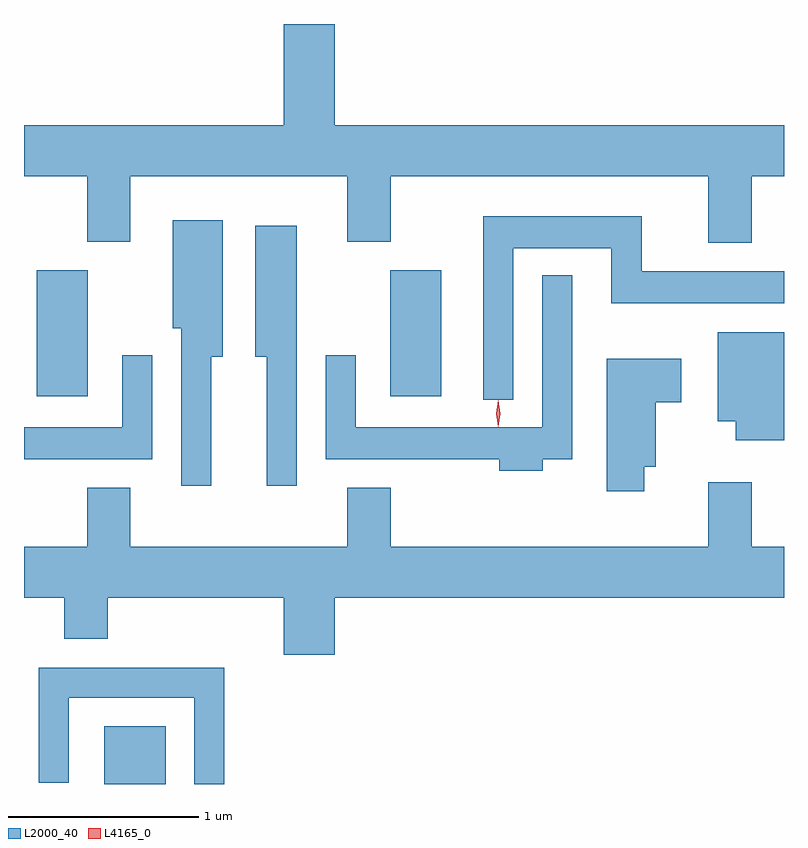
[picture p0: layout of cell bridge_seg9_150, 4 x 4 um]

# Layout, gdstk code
import gdstk
lib = gdstk.Library(unit=1e-6, precision=1e-09)
def R(c, l, rs):  # rectangles x0, y0, x1, y1
    for r in rs: c.add(gdstk.rectangle(r[:2], r[2:], *l))
def P(c, l, *ps):  # polygons
    for p in ps: c.add(gdstk.Polygon(p, *l))
L2000_40 = (2000, 40)
L4165_0 = (4165, 0)

bridge_seg9_150 = lib.new_cell('bridge_seg9_150')
R(bridge_seg9_150, L2000_40, [(1392.951,2070.756,1393.274,2071.059), (1392.596,2072.796,1392.864,2073.459), (1394.456,2072.796,1394.724,2073.459)])
P(bridge_seg9_150, L2000_40, [(1396.359,2073.956),(1396.529,2073.956),(1396.529,2074.224),(1394.164,2074.224),(1394.164,2074.756),(1393.896,2074.756),(1393.896,2074.224),(1392.529,2074.224),(1392.529,2073.956),(1392.861,2073.956),(1392.861,2073.611),(1393.089,2073.611),(1393.089,2073.956),(1394.231,2073.956),(1394.231,2073.611),(1394.459,2073.611),(1394.459,2073.956),(1396.131,2073.956),(1396.131,2073.606),(1396.359,2073.606)],
  [(1395.104,2073.576),(1395.621,2073.576),(1395.621,2073.286),(1396.529,2073.286),(1396.529,2073.454),(1395.779,2073.454),(1395.779,2073.744),(1394.946,2073.744),(1394.946,2072.778),(1395.104,2072.778)],
  [(1393.514,2073.006),(1393.574,2073.006),(1393.574,2073.724),(1393.311,2073.724),(1393.311,2073.156),(1393.356,2073.156),(1393.356,2072.327),(1393.514,2072.327)],
  [(1393.964,2073.694),(1393.746,2073.694),(1393.746,2073.006),(1393.806,2073.006),(1393.806,2072.327),(1393.964,2072.327)],
  [(1395.259,2072.466),(1395.414,2072.466),(1395.414,2073.433),(1395.256,2073.433),(1395.256,2072.634),(1394.274,2072.634),(1394.274,2073.012),(1394.116,2073.012),(1394.116,2072.466),(1395.031,2072.466),(1395.031,2072.406),(1395.259,2072.406)],
  [(1396.529,2073.134),(1396.181,2073.134),(1396.181,2072.666),(1396.276,2072.666),(1396.276,2072.566),(1396.529,2072.566)],
  [(1393.204,2073.012),(1393.046,2073.012),(1393.046,2072.634),(1392.529,2072.634),(1392.529,2072.466),(1393.204,2072.466)],
  [(1395.794,2072.426),(1395.854,2072.426),(1395.854,2072.766),(1395.989,2072.766),(1395.989,2072.994),(1395.596,2072.994),(1395.596,2072.296),(1395.794,2072.296)],
  [(1393.089,2072.314),(1392.861,2072.314),(1392.861,2072.004),(1392.529,2072.004),(1392.529,2071.736),(1392.741,2071.736),(1392.741,2071.521),(1392.969,2071.521),(1392.969,2071.736),(1393.896,2071.736),(1393.896,2071.436),(1394.164,2071.436),(1394.164,2071.736),(1396.529,2071.736),(1396.529,2072.004),(1396.359,2072.004),(1396.359,2072.344),(1396.131,2072.344),(1396.131,2072.004),(1394.459,2072.004),(1394.459,2072.314),(1394.231,2072.314),(1394.231,2072.004),(1393.089,2072.004)],
  [(1393.584,2071.369),(1392.606,2071.369),(1392.606,2070.762),(1392.764,2070.762),(1392.764,2071.211),(1393.426,2071.211),(1393.426,2070.756),(1393.584,2070.756)])
P(bridge_seg9_150, L4165_0, [(1395.024,2072.637),(1395.015,2072.706),(1395.024,2072.776),(1395.025,2072.776),(1395.025,2072.776),(1395.035,2072.706),(1395.025,2072.637),(1395.025,2072.637)],
  [(1395.024,2072.639),(1395.024,2072.64),(1395.014,2072.706),(1395.024,2072.772),(1395.024,2072.773),(1395.025,2072.772),(1395.034,2072.706),(1395.025,2072.64)])

lib.write_gds('bridge_seg9_150.gds')
